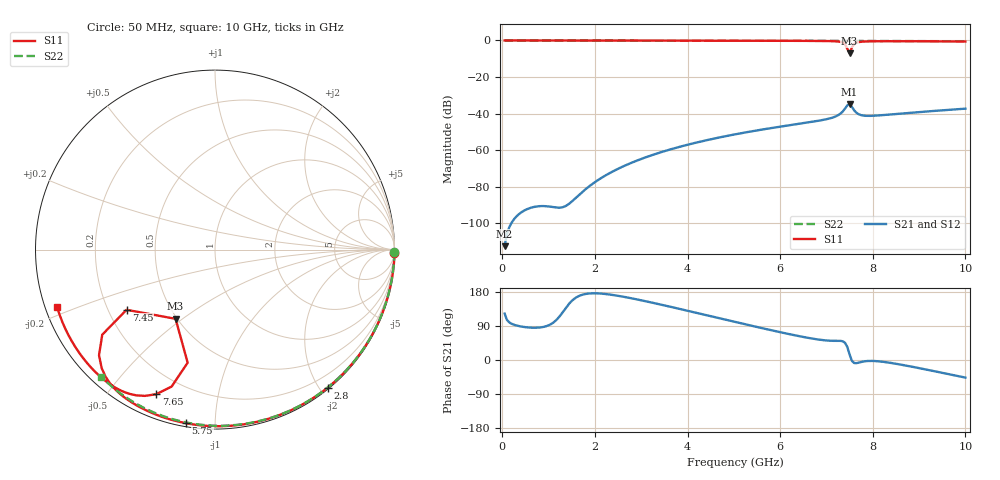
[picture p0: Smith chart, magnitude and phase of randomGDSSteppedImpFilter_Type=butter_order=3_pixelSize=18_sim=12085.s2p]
! freq	dB(S11)	phase(S11)	dB(S12)	phase(S12)
!  dB(S21)	phase(S21)	dB(S22)	phase(S22)
!S-par simulation data
#  GHz  S  DB  R 50
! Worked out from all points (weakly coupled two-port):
!   200 points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, 50 MHz to 10 GHz, reference 50 ohm
!   highest |S21| = -34.86 dB at 7.5 GHz (marker M1); lowest = -112.4 dB at 50 MHz (marker M2)
!   lowest |S11| = -7.1 dB at 7.5 GHz (marker M3), VSWR 2.60, Z = 24.5 - j23.6 ohm
!   |S11| at or under -10 dB: nowhere
!   |S22| runs from -0.4 to 0.0 dB; largest |S21 - S12| = 0
!   S11 on the Smith chart (normalised r, x): 50 MHz: open; 2.8 GHz: 0.02, -2.11; 5.75 GHz: 0.02, -0.85; 7.45 GHz: 0.28, -0.29; 7.65 GHz: 0.10, -0.67; 10 GHz: 0.03, -0.17
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0.05  -0.00 -0.9  -112.43 122.6  -112.43 122.6  -0.00 -0.8
0.85  -0.02 -15.8  -90.51 86.4  -90.51 86.4  -0.02 -12.9
1.75  -0.04 -32.2  -82.33 172.9  -82.33 172.9  -0.03 -26.3
1.85  -0.04 -34.0  -80.25 175.2  -80.25 175.2  -0.04 -27.7
2.3  -0.05 -42.0  -72.75 173.1  -72.75 173.1  -0.04 -34.3
2.8  -0.07 -50.7  -66.74 162.6  -66.74 162.6  -0.05 -41.5
3.4  -0.08 -61.1  -61.29 146.9  -61.29 146.9  -0.07 -50.0
5.05  -0.14 -88.3  -51.20 99.8  -51.20 99.8  -0.11 -72.4
5.75  -0.17 -99.5  -48.12 80.1  -48.12 80.1  -0.14 -81.4
6.7  -0.24 -115.6  -44.43 56.4  -44.43 56.4  -0.18 -93.3
7.05  -0.33 -123.3  -42.74 51.1  -42.74 51.1  -0.20 -97.5
7.25  -0.59 -130.7  -40.87 50.6  -40.87 50.6  -0.21 -99.9
7.35  -1.17 -137.7  -38.86 49.5  -38.86 49.5  -0.22 -101.1
7.4  -2.08 -143.0  -37.27 45.6  -37.27 45.6  -0.22 -101.7
7.45  -4.49 -145.8  -35.46 34.5  -35.46 34.5  -0.22 -102.3
7.5  -7.06 -119.7  -34.86 14.2  -34.86 14.2  -0.23 -102.9
7.55  -3.77 -103.6  -36.36 -2.4  -36.36 -2.4  -0.23 -103.5
7.6  -1.94 -107.6  -38.24 -8.1  -38.24 -8.1  -0.23 -104.1
7.65  -1.21 -112.1  -39.57 -8.3  -39.57 -8.3  -0.23 -104.7
7.9  -0.50 -123.7  -41.23 -2.6  -41.23 -2.6  -0.25 -107.6
8.35  -0.41 -133.5  -40.53 -6.9  -40.53 -6.9  -0.29 -112.9
10  -0.57 -160.2  -37.28 -46.4  -37.28 -46.4  -0.44 -131.7
